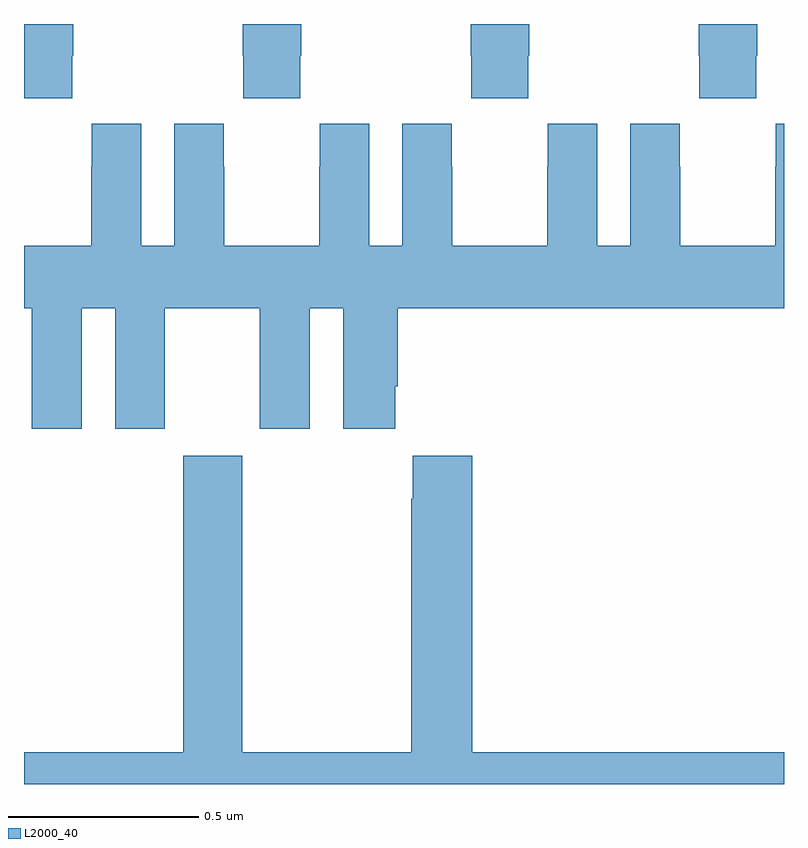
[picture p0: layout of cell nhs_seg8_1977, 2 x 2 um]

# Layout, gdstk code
import gdstk
lib = gdstk.Library(unit=1e-6, precision=1e-09)
def P(c, l, *ps):  # polygons
    for p in ps: c.add(gdstk.Polygon(p, *l))
L2000_40 = (2000, 40)

nhs_seg8_1977 = lib.new_cell('nhs_seg8_1977')
P(nhs_seg8_1977, L2000_40, [(137.127,1131.817),(137.13,1131.817),(137.13,1131.9),(137,1131.9),(137,1131.705),(137.127,1131.705)],
  [(137.727,1131.817),(137.73,1131.817),(137.73,1131.9),(137.575,1131.9),(137.575,1131.817),(137.577,1131.817),(137.577,1131.705),(137.727,1131.705)],
  [(138.327,1131.817),(138.33,1131.817),(138.33,1131.9),(138.175,1131.9),(138.175,1131.817),(138.177,1131.817),(138.177,1131.705),(138.327,1131.705)],
  [(138.927,1131.817),(138.93,1131.817),(138.93,1131.9),(138.775,1131.9),(138.775,1131.817),(138.777,1131.817),(138.777,1131.705),(138.927,1131.705)],
  [(139,1131.637),(138.978,1131.637),(138.978,1131.524),(138.977,1131.524),(138.977,1131.316),(138.727,1131.316),(138.727,1131.524),(138.726,1131.524),(138.726,1131.637),(138.596,1131.637),(138.596,1131.316),(138.508,1131.316),(138.508,1131.637),(138.378,1131.637),(138.378,1131.524),(138.377,1131.524),(138.377,1131.316),(138.127,1131.316),(138.127,1131.524),(138.126,1131.524),(138.126,1131.637),(137.996,1131.637),(137.996,1131.316),(137.908,1131.316),(137.908,1131.637),(137.778,1131.637),(137.778,1131.524),(137.777,1131.524),(137.777,1131.316),(137.527,1131.316),(137.527,1131.524),(137.526,1131.524),(137.526,1131.637),(137.396,1131.637),(137.396,1131.316),(137.308,1131.316),(137.308,1131.637),(137.178,1131.637),(137.178,1131.524),(137.177,1131.524),(137.177,1131.316),(137,1131.316),(137,1131.152),(137.021,1131.152),(137.021,1130.835),(137.152,1130.835),(137.152,1131.152),(137.24,1131.152),(137.24,1130.835),(137.371,1130.835),(137.371,1131.152),(137.621,1131.152),(137.621,1130.835),(137.752,1130.835),(137.752,1131.152),(137.84,1131.152),(137.84,1130.835),(137.977,1130.835),(137.977,1130.947),(137.984,1130.947),(137.984,1131.152),(139,1131.152)],
  [(139,1129.984),(138.179,1129.984),(138.179,1130.764),(138.023,1130.764),(138.023,1130.651),(138.019,1130.651),(138.019,1129.984),(137.574,1129.984),(137.574,1130.764),(137.419,1130.764),(137.419,1129.984),(137,1129.984),(137,1129.9),(139,1129.9)])

lib.write_gds('nhs_seg8_1977.gds')
